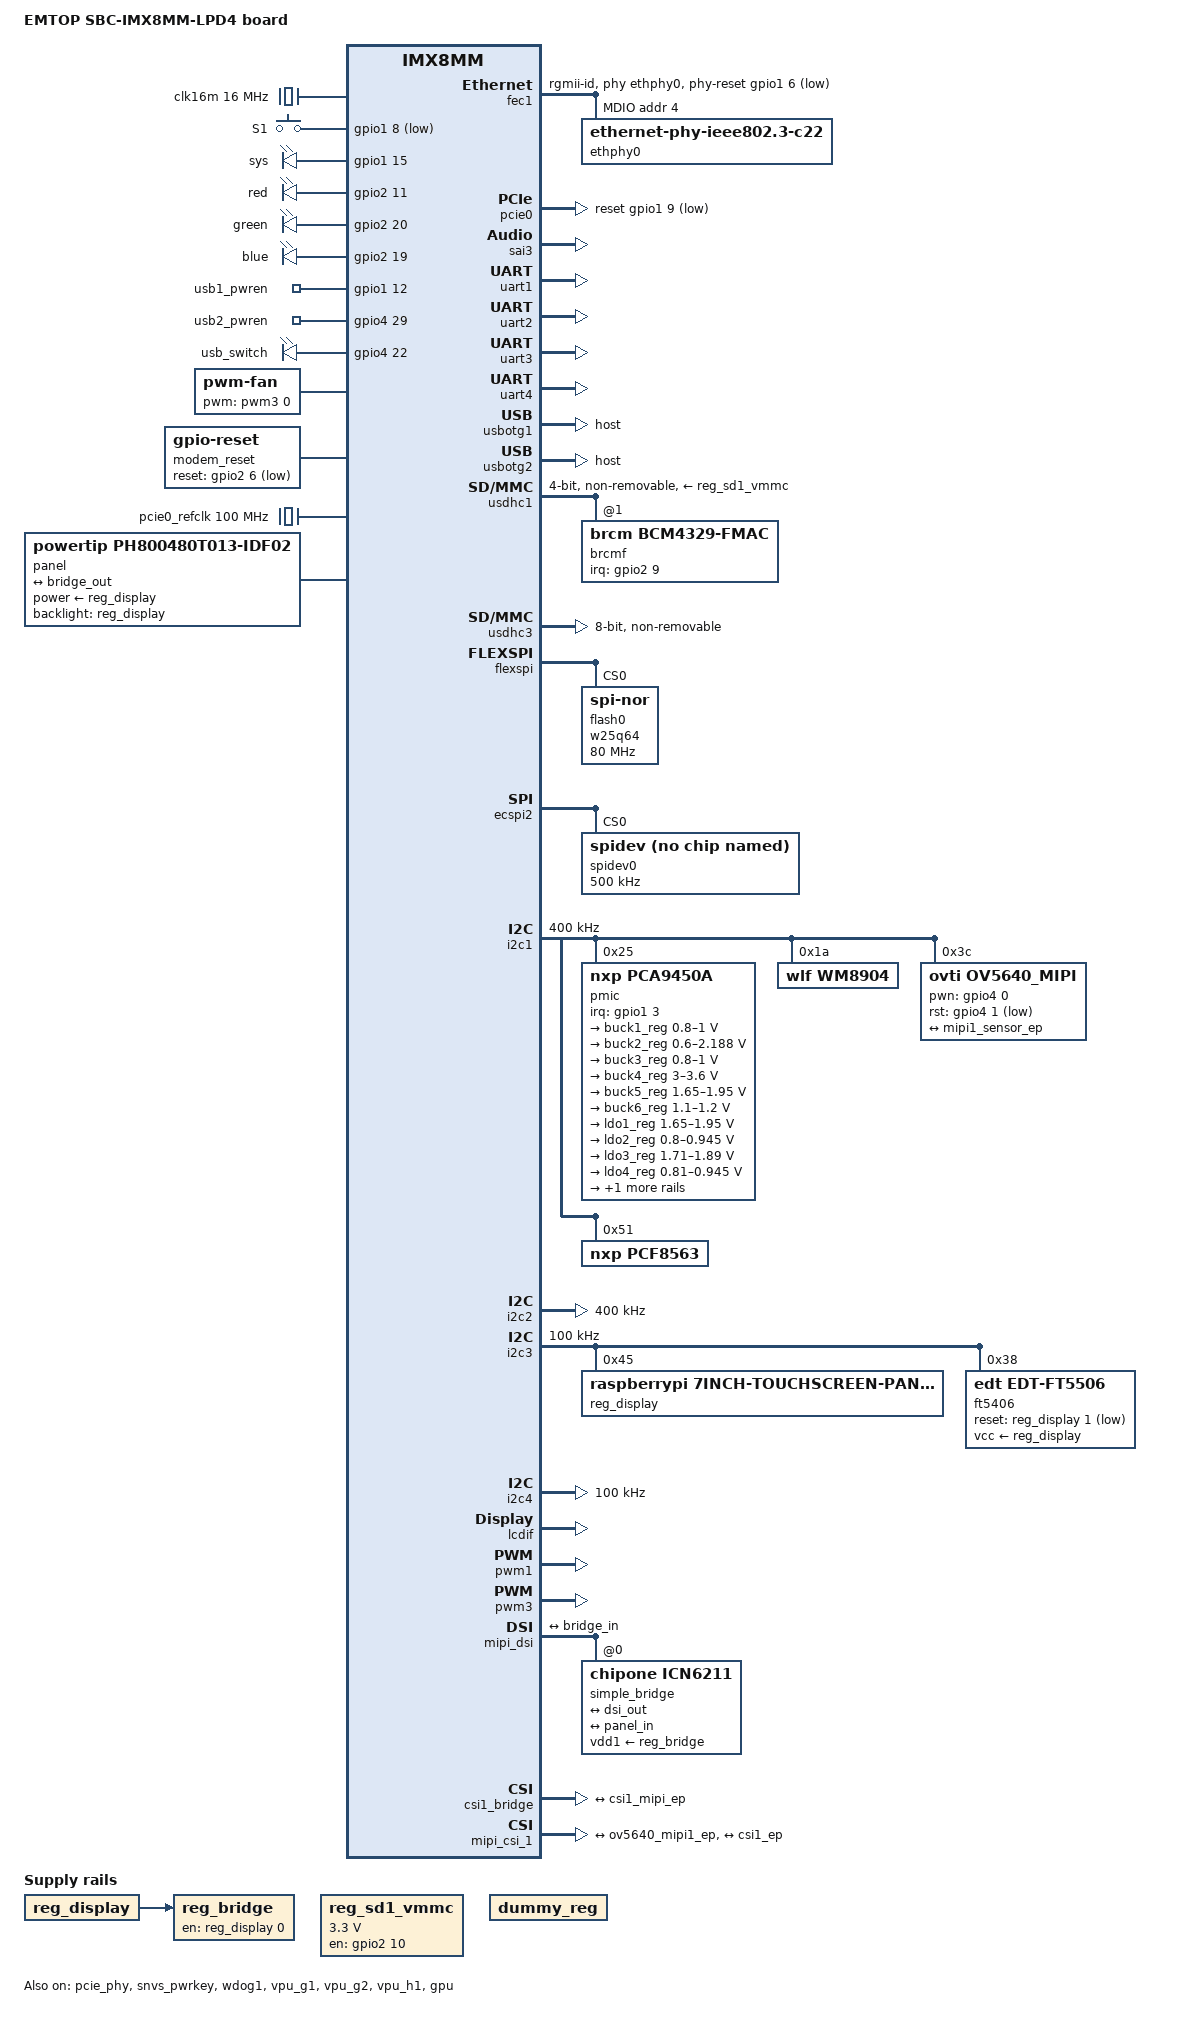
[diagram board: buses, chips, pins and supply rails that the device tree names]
// SPDX-License-Identifier: (GPL-2.0+ OR MIT)
/*
 * Copyright 2024 EMTOP
 */

/dts-v1/;

#include <dt-bindings/phy/phy-imx8-pcie.h>
#include <dt-bindings/usb/pd.h>
#include "imx8mm.dtsi"

/ {
	model = "EMTOP SBC-IMX8MM-LPD4 board";
	compatible = "fsl,imx8mm-evk", "fsl,imx8mm";

	chosen {
		stdout-path = &uart2;
	};

	clk16m: clk16m {
		compatible = "fixed-clock";
		#clock-cells = <0>;
		clock-frequency = <16000000>;
	};

	gpio-keys {
		compatible = "gpio-keys";
		pinctrl-names = "default";
		pinctrl-0 = <&pinctrl_gpio_keys>;

		btn1 {
			label = "S1";
			gpios = <&gpio1 8 GPIO_ACTIVE_LOW>;
			wakeup-source;
			linux,code = <KEY_HOME>;
		};
	};

	leds {
		compatible = "gpio-leds";
		pinctrl-names = "default";
		pinctrl-0 = <&pinctrl_gpio_led>;

		sys {
			label = "sys";
			gpios = <&gpio1 15 GPIO_ACTIVE_HIGH>;
			linux,default-trigger = "heartbeat";
		};

		red {
			label = "red";
			gpios = <&gpio2 11 GPIO_ACTIVE_HIGH>;
			linux,default-trigger = "none";
		};

		green {
			label = "green";
			gpios = <&gpio2 20 GPIO_ACTIVE_HIGH>;
			linux,default-trigger = "none";
		};

		blue {
			label = "blue";
			gpios = <&gpio2 19 GPIO_ACTIVE_HIGH>;
			linux,default-trigger = "none";
		};

		usb1_pwren {
			label = "usb1_pwren";
			gpios = <&gpio1 12 GPIO_ACTIVE_HIGH>;
			default-state = "on";
		};

		usb2_pwren {
			label = "usb2_pwren";
			gpios = <&gpio4 29 GPIO_ACTIVE_HIGH>;
			default-state = "on";
		};

		usb_switch {
			label = "usb_switch";
			gpios = <&gpio4 22 GPIO_ACTIVE_HIGH>;
			default-state = "off";
		};
	};

	fan: pwm {
		compatible = "pwm-fan";
		/* 20% steps */
		cooling-levels = <0 51 102 153 204 255>;
		pwms = <&pwm3 0 40000 0>;
	};

	modem_reset: modem-reset {
		compatible = "gpio-reset";
		reset-gpios = <&gpio2 6 GPIO_ACTIVE_LOW>;
		reset-delay-us = <2000>;
		reset-post-delay-ms = <40>;
		#reset-cells = <0>;
	};

	regulators {
		compatible = "simple-bus";
		#address-cells = <1>;
		#size-cells = <0>;

		reg_sd1_vmmc: sd1_regulator {
			compatible = "regulator-fixed";
			regulator-name = "WLAN_EN";
			regulator-min-microvolt = <3300000>;
			regulator-max-microvolt = <3300000>;
			gpio = <&gpio2 10 GPIO_ACTIVE_HIGH>;
			off-on-delay = <20000>;
			startup-delay-us = <100>;
			enable-active-high;
		};

		dummy_reg: dummy_regulator {
			compatible = "regulator-fixed";
			regulator-name = "dummy";
		};

		reg_bridge: reg_bridge {
			compatible = "regulator-fixed";
			regulator-name = "bridge_reg";
			gpio = <&reg_display 0 0>;
			vin-supply = <&reg_display>;
			enable-active-high;
		};
	};

	sound-wm8904 {
		compatible = "fsl,imx-audio-wm8904";
		model = "wm8904-audio";
		audio-cpu = <&sai3>;
		audio-codec = <&wm8904>;
		audio-routing =
			"Headphone Jack", "HPOUTL",
			"Headphone Jack", "HPOUTR",
			"IN2L", "Line In Jack",
			"IN2R", "Line In Jack",
			"Mic Jack", "MICBIAS",
			"IN1L", "Mic Jack";
	};

	pcie0_refclk: pcie0-refclk {
		compatible = "fixed-clock";
		#clock-cells = <0>;
		clock-frequency = <100000000>;
	};

	panel {
		compatible = "powertip,ph800480t013-idf02", "simple-panel";
		backlight = <&reg_display>;
		power-supply = <&reg_display>;

		port {
			panel_in: endpoint {
				remote-endpoint = <&bridge_out>;
			};
		};
	};
};

&A53_0 {
	cpu-supply = <&buck2_reg>;
};

&A53_1 {
	cpu-supply = <&buck2_reg>;
};

&A53_2 {
	cpu-supply = <&buck2_reg>;
};

&A53_3 {
	cpu-supply = <&buck2_reg>;
};

&fec1 {
	pinctrl-names = "default";
	pinctrl-0 = <&pinctrl_fec1>;
	phy-mode = "rgmii-id";
	phy-handle = <&ethphy0>;
	phy-reset-gpios = <&gpio1 6 GPIO_ACTIVE_LOW>;
	phy-reset-post-delay = <300>;
	phy-reset-duration = <80>;
	fsl,magic-packet;
	status = "okay";

	mdio {
		#address-cells = <1>;
		#size-cells = <0>;

		ethphy0: ethernet-phy@4 {
			compatible = "ethernet-phy-ieee802.3-c22";
			reg = <4>;
			at803x,eee-disabled;
			at803x,vddio-1p8v;
		};
	};
};

&pcie_phy {
	fsl,refclk-pad-mode = <IMX8_PCIE_REFCLK_PAD_INPUT>;
	fsl,tx-deemph-gen1 = <0x2d>;
	fsl,tx-deemph-gen2 = <0xf>;
	clocks = <&pcie0_refclk>;
	fsl,clkreq-unsupported;
	clock-names = "ref";
	status = "okay";
};

&pcie0 {
	pinctrl-names = "default";
	pinctrl-0 = <&pinctrl_pcie0>;
	reset-gpio = <&gpio1 9 GPIO_ACTIVE_LOW>;
	clocks = <&clk IMX8MM_CLK_PCIE1_ROOT>,
		 <&clk IMX8MM_CLK_PCIE1_AUX>,
		 <&pcie0_refclk>;
	clock-names = "pcie", "pcie_aux", "pcie_bus";
	assigned-clocks = <&clk IMX8MM_CLK_PCIE1_AUX>,
		<&clk IMX8MM_CLK_PCIE1_CTRL>;
	assigned-clock-rates = <10000000>, <250000000>;
	assigned-clock-parents = <&clk IMX8MM_SYS_PLL2_50M>,
		<&clk IMX8MM_SYS_PLL2_250M>;
	status = "okay";
};

&sai3 {
	pinctrl-names = "default";
	pinctrl-0 = <&pinctrl_sai3>;
	assigned-clocks = <&clk IMX8MM_CLK_SAI3>;
	assigned-clock-parents = <&clk IMX8MM_AUDIO_PLL1_OUT>;
	assigned-clock-rates = <24576000>;
	status = "okay";
};

&snvs_pwrkey {
	status = "okay";
};

&uart1 { /* BT */
	pinctrl-names = "default";
	pinctrl-0 = <&pinctrl_uart1>;
	assigned-clocks = <&clk IMX8MM_CLK_UART1>;
	assigned-clock-parents = <&clk IMX8MM_SYS_PLL1_80M>;
	fsl,uart-has-rtscts;
	resets = <&modem_reset>;
	status = "okay";
};

&uart2 { /* console */
	pinctrl-names = "default";
	pinctrl-0 = <&pinctrl_uart2>;
	status = "okay";
};

&uart3 {
	pinctrl-names = "default";
	pinctrl-0 = <&pinctrl_uart3>;
	assigned-clocks = <&clk IMX8MM_CLK_UART3>;
	assigned-clock-parents = <&clk IMX8MM_SYS_PLL1_80M>;
	fsl,uart-has-rtscts;
	status = "okay";
};

&uart4 {
	pinctrl-names = "default";
	pinctrl-0 = <&pinctrl_uart4>;
	status = "okay";
};

&usbotg1 {
	dr_mode = "host";
	status = "okay";
};

&usbotg2 {
	dr_mode = "host";
	status = "okay";
};

/* WIFI SDIO */
&usdhc1 {
	pinctrl-names = "default";
	pinctrl-0 = <&pinctrl_usdhc1>, <&pinctrl_usdhc1_gpio>;
	bus-width = <4>;
	vmmc-supply = <&reg_sd1_vmmc>;
	pm-ignore-notify;
	keep-power-in-suspend;
	non-removable;
	status = "okay";

	#address-cells = <1>;
	#size-cells = <0>;
	brcmf: bcrmf@1 {
		reg = <1>;
		compatible = "brcm,bcm4329-fmac";
		interrupt-parent = <&gpio2>;
		interrupts = <9 IRQ_TYPE_LEVEL_LOW>;
		interrupt-names = "host-wake";
	};
};

/* eMMC */
&usdhc3 {
	pinctrl-names = "default", "state_100mhz", "state_200mhz";
	pinctrl-0 = <&pinctrl_usdhc3>;
	pinctrl-1 = <&pinctrl_usdhc3_100mhz>;
	pinctrl-2 = <&pinctrl_usdhc3_200mhz>;
	bus-width = <8>;
	non-removable;
	status = "okay";
};

&wdog1 {
	pinctrl-names = "default";
	pinctrl-0 = <&pinctrl_wdog>;
	fsl,ext-reset-output;
	status = "okay";
};

&flexspi {
	pinctrl-names = "default";
	pinctrl-0 = <&pinctrl_flexspi0>;
	status = "okay";

	flash0: w25q64@0 {
		reg = <0>;
		#address-cells = <1>;
		#size-cells = <1>;
		compatible = "jedec,spi-nor";
		spi-max-frequency = <80000000>;
		spi-tx-bus-width = <4>;
		spi-rx-bus-width = <4>;
	};
};

&ecspi2 {
	pinctrl-names = "default";
	pinctrl-0 = <&pinctrl_ecspi2>;
	status = "okay";

	canbus: mcp2515@0 {
		compatible = "microchip,mcp2515";
		pinctrl-names = "default";
		pinctrl-0 = <&pinctrl_canbus>;
		reg = <0>;
		clocks = <&clk16m>;
		interrupt-parent = <&gpio1>;
		interrupts = <14 IRQ_TYPE_EDGE_FALLING>;
		spi-max-frequency = <10000000>;
		status = "disabled";
	};

	spidev0: spi@0 {
		compatible = "rohm,dh2228fv";
		reg = <0>;
		spi-max-frequency = <500000>;
	};
};

&i2c1 {
	clock-frequency = <400000>;
	pinctrl-names = "default";
	pinctrl-0 = <&pinctrl_i2c1>;
	status = "okay";

	pmic: pca9450@25 {
		reg = <0x25>;
		compatible = "nxp,pca9450a";
		/* PMIC PCA9450 PMIC_nINT GPIO1_IO3 */
		pinctrl-0 = <&pinctrl_pmic>;
		interrupt-parent = <&gpio1>;
		interrupts = <3 IRQ_TYPE_LEVEL_LOW>;
		nxp,wdog_b-cold-reset;

		regulators {
			#address-cells = <1>;
			#size-cells = <0>;

			buck1_reg: BUCK1 {
				regulator-name = "buck1";
				regulator-min-microvolt = <800000>;
				regulator-max-microvolt = <1000000>;
				regulator-boot-on;
				regulator-always-on;
				regulator-ramp-delay = <3125>;
				nxp,dvs-run-voltage = <950000>;
				nxp,dvs-standby-voltage = <850000>;
			};

			buck2_reg: BUCK2 {
				regulator-name = "buck2";
				regulator-min-microvolt = <600000>;
				regulator-max-microvolt = <2187500>;
				regulator-boot-on;
				regulator-always-on;
				regulator-ramp-delay = <3125>;
			};

			buck3_reg: BUCK3 {
				regulator-name = "buck3";
				regulator-min-microvolt = <800000>;
				regulator-max-microvolt = <1000000>;
				regulator-boot-on;
				regulator-always-on;
			};

			buck4_reg: BUCK4 {
				regulator-name = "buck4";
				regulator-min-microvolt = <3000000>;
				regulator-max-microvolt = <3600000>;
				regulator-boot-on;
				regulator-always-on;
			};

			buck5_reg: BUCK5 {
				regulator-name = "buck5";
				regulator-min-microvolt = <1650000>;
				regulator-max-microvolt = <1950000>;
				regulator-boot-on;
				regulator-always-on;
			};

			buck6_reg: BUCK6 {
				regulator-name = "buck6";
				regulator-min-microvolt = <1100000>;
				regulator-max-microvolt = <1200000>;
				regulator-boot-on;
				regulator-always-on;
			};

			ldo1_reg: LDO1 {
				regulator-name = "ldo1";
				regulator-min-microvolt = <1650000>;
				regulator-max-microvolt = <1950000>;
				regulator-boot-on;
				regulator-always-on;
			};

			ldo2_reg: LDO2 {
				regulator-name = "ldo2";
				regulator-min-microvolt = <800000>;
				regulator-max-microvolt = <945000>;
				regulator-boot-on;
				regulator-always-on;
			};

			ldo3_reg: LDO3 {
				regulator-name = "ldo3";
				regulator-min-microvolt = <1710000>;
				regulator-max-microvolt = <1890000>;
				regulator-boot-on;
				regulator-always-on;
			};

			ldo4_reg: LDO4 {
				regulator-name = "ldo4";
				regulator-min-microvolt = <810000>;
				regulator-max-microvolt = <945000>;
				regulator-boot-on;
				regulator-always-on;
			};

			ldo5_reg: LDO5 {
				regulator-name = "ldo5";
				regulator-min-microvolt = <1650000>;
				regulator-max-microvolt = <3600000>;
			};
		};
	};

	wm8904: wm8904@1a {
		compatible = "wlf,wm8904";
		reg = <0x1a>;
		clocks = <&clk IMX8MM_CLK_SAI3_ROOT>;
		clock-names = "mclk";
		num-drc-cfgs = <5>;
		drc-cfg-names = "default", "peaklimiter", "tradition", "soft", "music";
		drc-cfg-regs =
			/* coded default: KNEE_IP = KNEE_OP = 0, HI_COMP = LO_COMP = 1  */
			<0x01af 0x3248 0x0000 0x0000>,
			/* coded default: KNEE_IP = -24, KNEE_OP = -6, HI_COMP = 1/4, LO_COMP = 1 */
			<0x04af 0x324b 0x0010 0x0408>,
			/* coded default: KNEE_IP = -42, KNEE_OP = -3, HI_COMP = 0, LO_COMP = 1 */
			<0x04af 0x324b 0x0028 0x0704>,
			/* coded default: KNEE_IP = -45, KNEE_OP = -9, HI_COMP = 1/8, LO_COMP = 1 */
			<0x04af 0x324b 0x0018 0x078c>,
			/* coded default: KNEE_IP = -30, KNEE_OP = -10.5, HI_COMP = 1/4, LO_COMP = 1 */
			<0x04af 0x324b 0x0010 0x050e>;
		gpio-cfg = <
			0x0018 /* GPIO1 => DMIC_CLK */
			0xffff /* GPIO2 => don't touch */
			0xffff /* GPIO3 => don't touch */
			0xffff /* GPIO4 => don't touch */
		>;
	};

	ov5640_mipi: ov5640_mipi@3c {
		compatible = "ovti,ov5640_mipi";
		reg = <0x3c>;
		status = "okay";
		pinctrl-names = "default";
		pinctrl-0 = <&pinctrl_csi_ctrl>;
		clocks = <&clk IMX8MM_CLK_CLKO1>;
		clock-names = "csi_mclk";
		assigned-clocks = <&clk IMX8MM_CLK_CLKO1>;
		assigned-clock-parents = <&clk IMX8MM_CLK_24M>;
		assigned-clock-rates = <24000000>;
		csi_id = <0>;
		pwn-gpios = <&gpio4 0 GPIO_ACTIVE_HIGH>;
		rst-gpios = <&gpio4 1 GPIO_ACTIVE_LOW>;
		mclk = <24000000>;
		mclk_source = <0>;
		port {
			ov5640_mipi1_ep: endpoint {
				remote-endpoint = <&mipi1_sensor_ep>;
			};
		};
	};

	pcf8563: rtc@51 {
		compatible = "nxp,pcf8563";
		reg = <0x51>;
		status = "okay";
	};
};

&i2c2 {
	clock-frequency = <400000>;
	pinctrl-names = "default";
	pinctrl-0 = <&pinctrl_i2c2>;
	status = "okay";
};

&snvs_rtc {
	status = "disabled";
};

&i2c3 {
	clock-frequency = <100000>;
	pinctrl-names = "default";
	pinctrl-0 = <&pinctrl_i2c3>;
	status = "okay";

	reg_display: reg_display@45 {
		compatible = "raspberrypi,7inch-touchscreen-panel-regulator";
		reg = <0x45>;
		gpio-controller;
		#gpio-cells = <2>;
	};

	ft5406: ts@38 {
		compatible = "edt,edt-ft5506";
		reg = <0x38>;
		vcc-supply = <&reg_display>;
		reset-gpio = <&reg_display 1 1>;

		touchscreen-size-x = <800>;
		touchscreen-size-y = <480>;
		touchscreen-inverted-x;
		touchscreen-inverted-y;
	};
};

&i2c4 {
	clock-frequency = <100000>;
	pinctrl-names = "default";
	pinctrl-0 = <&pinctrl_i2c4>;
	status = "okay";
};

&lcdif {
	status = "okay";
};

&pwm1 {
	pinctrl-names = "default";
	pinctrl-0 = <&pinctrl_pwm1>;
	status = "okay";
};

&pwm3 {
	pinctrl-names = "default";
	pinctrl-0 = <&pinctrl_pwm3>;
	status = "okay";
};

&mipi_dsi {
	#address-cells = <1>;
	#size-cells = <0>;
	status = "okay";

	encoder_dsi_port: port@1 {
		reg = <1>;
		dsi_out: endpoint {
			remote-endpoint = <&bridge_in>;
			attach-bridge;
		};
	};

	simple_bridge: bridge@0 {
		compatible = "chipone,icn6211";
		pinctrl-names = "default";
		pinctrl-0 = <&pinctrl_dsi>;
		reg = <0>;
		vdd1-supply = <&reg_bridge>;

		#address-cells = <1>;
		#size-cells = <0>;
		port@0 {
			reg = <0>;
			bridge_in: endpoint {
				remote-endpoint = <&dsi_out>;
				data-lanes = <1>;
			};
		};

		port@1 {
			reg = <1>;
			bridge_out: endpoint {
				remote-endpoint = <&panel_in>;
			};
		};
	};
};

&csi1_bridge {
	fsl,mipi-mode;
	status = "okay";

	port {
		csi1_ep: endpoint {
			remote-endpoint = <&csi1_mipi_ep>;
		};
	};
};

&mipi_csi_1 {
	#address-cells = <1>;
	#size-cells = <0>;
	status = "okay";

	port {
		mipi1_sensor_ep: endpoint@1 {
			remote-endpoint = <&ov5640_mipi1_ep>;
			data-lanes = <2>;
			csis-hs-settle = <13>;
			csis-clk-settle = <2>;
			csis-wclk;
		};

		csi1_mipi_ep: endpoint@2 {
			remote-endpoint = <&csi1_ep>;
		};
	};
};

&vpu_g1 {
	status = "okay";
};

&vpu_g2 {
	status = "okay";
};

&vpu_h1 {
	status = "okay";
};

&gpu {
	status = "okay";
};

&iomuxc {
	pinctrl-names = "default";
	pinctrl-0 = <&pinctrl_default>;

	pinctrl_default: default {
		fsl,pins = <
			MX8MM_IOMUXC_SD2_CLK_GPIO2_IO13				0x19
			MX8MM_IOMUXC_SD2_CMD_GPIO2_IO14				0x19
			MX8MM_IOMUXC_SD2_DATA0_GPIO2_IO15			0x19
			MX8MM_IOMUXC_SPDIF_TX_GPIO5_IO3				0x19
			MX8MM_IOMUXC_SD2_CD_B_GPIO2_IO12			0x19
			MX8MM_IOMUXC_SAI5_RXC_GPIO3_IO20			0x19
			MX8MM_IOMUXC_SPDIF_RX_GPIO5_IO4				0x19
			MX8MM_IOMUXC_SAI5_RXFS_GPIO3_IO19			0x19
			MX8MM_IOMUXC_SAI5_RXD2_GPIO3_IO23			0x19
			MX8MM_IOMUXC_SAI5_MCLK_GPIO3_IO25			0x19
			MX8MM_IOMUXC_SD2_DATA1_GPIO2_IO16			0x19
			MX8MM_IOMUXC_SD2_DATA2_GPIO2_IO17			0x19
			MX8MM_IOMUXC_SD2_DATA3_GPIO2_IO18			0x19
			MX8MM_IOMUXC_GPIO1_IO05_GPIO1_IO5			0x19
			MX8MM_IOMUXC_SAI5_RXD1_GPIO3_IO22			0x19
			MX8MM_IOMUXC_SAI5_RXD0_GPIO3_IO21			0x19
			MX8MM_IOMUXC_SAI5_RXD3_GPIO3_IO24			0x19

			MX8MM_IOMUXC_SAI1_MCLK_GPIO4_IO20			0x19	/* SEC_RST */
		>;
	};

	pinctrl_fec1: fec1grp {
		fsl,pins = <
			MX8MM_IOMUXC_ENET_MDC_ENET1_MDC				0x3
			MX8MM_IOMUXC_ENET_MDIO_ENET1_MDIO			0x3
			MX8MM_IOMUXC_ENET_TD3_ENET1_RGMII_TD3		0x1f
			MX8MM_IOMUXC_ENET_TD2_ENET1_RGMII_TD2		0x1f
			MX8MM_IOMUXC_ENET_TD1_ENET1_RGMII_TD1		0x1f
			MX8MM_IOMUXC_ENET_TD0_ENET1_RGMII_TD0		0x1f
			MX8MM_IOMUXC_ENET_RD3_ENET1_RGMII_RD3		0x91
			MX8MM_IOMUXC_ENET_RD2_ENET1_RGMII_RD2		0x91
			MX8MM_IOMUXC_ENET_RD1_ENET1_RGMII_RD1		0x91
			MX8MM_IOMUXC_ENET_RD0_ENET1_RGMII_RD0		0x91
			MX8MM_IOMUXC_ENET_TXC_ENET1_RGMII_TXC		0x1f
			MX8MM_IOMUXC_ENET_RXC_ENET1_RGMII_RXC		0x91
			MX8MM_IOMUXC_ENET_RX_CTL_ENET1_RGMII_RX_CTL	0x91
			MX8MM_IOMUXC_ENET_TX_CTL_ENET1_RGMII_TX_CTL	0x1f
			MX8MM_IOMUXC_GPIO1_IO06_GPIO1_IO6			0x19
		>;
	};

	pinctrl_flexspi0: flexspi0grp {
		fsl,pins = <
			MX8MM_IOMUXC_NAND_ALE_QSPI_A_SCLK			0x1c2
			MX8MM_IOMUXC_NAND_CE0_B_QSPI_A_SS0_B		0x82
			MX8MM_IOMUXC_NAND_DATA00_QSPI_A_DATA0		0x82
			MX8MM_IOMUXC_NAND_DATA01_QSPI_A_DATA1		0x82
			MX8MM_IOMUXC_NAND_DATA02_QSPI_A_DATA2		0x82
			MX8MM_IOMUXC_NAND_DATA03_QSPI_A_DATA3		0x82
		>;
	};

	pinctrl_ecspi2: ecspi2grp {
		fsl,pins = <
			MX8MM_IOMUXC_ECSPI2_SS0_ECSPI2_SS0			0x82
			MX8MM_IOMUXC_ECSPI2_MOSI_ECSPI2_MOSI		0x82
			MX8MM_IOMUXC_ECSPI2_MISO_ECSPI2_MISO		0x82
			MX8MM_IOMUXC_ECSPI2_SCLK_ECSPI2_SCLK		0x82
		>;
	};

	pinctrl_canbus: canbusgrp {
		fsl,pins = <
			MX8MM_IOMUXC_GPIO1_IO14_GPIO1_IO14			0x14
		>;
	};

	pinctrl_gpio_keys: gpiokeysgrp {
		fsl,pins = <
			MX8MM_IOMUXC_GPIO1_IO08_GPIO1_IO8			0x1d9
		>;
	};

	pinctrl_gpio_led: gpioledgrp {
		fsl,pins = <
			MX8MM_IOMUXC_GPIO1_IO15_GPIO1_IO15			0x19	/* SYS STATUS */
			MX8MM_IOMUXC_SD1_STROBE_GPIO2_IO11			0x19	/* RED */
			MX8MM_IOMUXC_SD2_WP_GPIO2_IO20				0x19	/* GREEN */
			MX8MM_IOMUXC_SD2_RESET_B_GPIO2_IO19			0x19	/* BLUE */
			MX8MM_IOMUXC_GPIO1_IO12_GPIO1_IO12			0x19	/* USB1_PWREN */
			MX8MM_IOMUXC_SAI3_RXC_GPIO4_IO29			0x19	/* USB2_PWREN */
			MX8MM_IOMUXC_SAI2_RXC_GPIO4_IO22			0x19	/* USB_SWITCH */
		>;
	};

	pinctrl_i2c1: i2c1grp {
		fsl,pins = <
			MX8MM_IOMUXC_I2C1_SCL_I2C1_SCL				0x400001c3
			MX8MM_IOMUXC_I2C1_SDA_I2C1_SDA				0x400001c3
		>;
	};

	pinctrl_i2c2: i2c2grp {
		fsl,pins = <
			MX8MM_IOMUXC_I2C2_SCL_I2C2_SCL				0x400001c3
			MX8MM_IOMUXC_I2C2_SDA_I2C2_SDA				0x400001c3
		>;
	};

	pinctrl_i2c3: i2c3grp {
		fsl,pins = <
			MX8MM_IOMUXC_I2C3_SCL_I2C3_SCL				0x400001c3
			MX8MM_IOMUXC_I2C3_SDA_I2C3_SDA				0x400001c3
		>;
	};

	pinctrl_i2c4: i2c4grp {
		fsl,pins = <
			MX8MM_IOMUXC_I2C4_SCL_I2C4_SCL				0x400001c3
			MX8MM_IOMUXC_I2C4_SDA_I2C4_SDA				0x400001c3
		>;
	};

	pinctrl_pwm1: pwm1grp {
		fsl,pins = <
			MX8MM_IOMUXC_SPDIF_EXT_CLK_PWM1_OUT			0x19	/* gpio5_io05.pwm1 */
		>;
	};

	pinctrl_pwm3: pwm3grp {
		fsl,pins = <
			MX8MM_IOMUXC_GPIO1_IO14_PWM3_OUT			0x19	/* fan pwm */
		>;
	};

	pinctrl_pcie0: pcie0grp {
		fsl,pins = <
			MX8MM_IOMUXC_GPIO1_IO07_GPIO1_IO7			0x61 /* open drain, pull up */
			MX8MM_IOMUXC_GPIO1_IO09_GPIO1_IO9			0x19
		>;
	};

	pinctrl_pmic: pmicirq {
		fsl,pins = <
			MX8MM_IOMUXC_GPIO1_IO03_GPIO1_IO3			0x41
		>;
	};

	pinctrl_sai3: sai3grp {
		fsl,pins = <
			MX8MM_IOMUXC_SAI3_TXFS_SAI3_TX_SYNC			0xd6
			MX8MM_IOMUXC_SAI3_TXC_SAI3_TX_BCLK			0xd6
			MX8MM_IOMUXC_SAI3_MCLK_SAI3_MCLK			0xd6
			MX8MM_IOMUXC_SAI3_TXD_SAI3_TX_DATA0			0xd6
			MX8MM_IOMUXC_SAI3_RXD_SAI3_RX_DATA0			0xd6
		>;
	};

	pinctrl_uart1: uart1grp {
		fsl,pins = <
			MX8MM_IOMUXC_UART1_RXD_UART1_DCE_RX			0x140
			MX8MM_IOMUXC_UART1_TXD_UART1_DCE_TX			0x140
			MX8MM_IOMUXC_UART3_RXD_UART1_DCE_CTS_B		0x140
			MX8MM_IOMUXC_UART3_TXD_UART1_DCE_RTS_B		0x140
			MX8MM_IOMUXC_SD1_DATA4_GPIO2_IO6			0x19
		>;
	};

	pinctrl_uart2: uart2grp {
		fsl,pins = <
			MX8MM_IOMUXC_UART2_RXD_UART2_DCE_RX			0x140
			MX8MM_IOMUXC_UART2_TXD_UART2_DCE_TX			0x140
		>;
	};

	pinctrl_uart3: uart3grp {
		fsl,pins = <
			MX8MM_IOMUXC_ECSPI1_SCLK_UART3_DCE_RX		0x140
			MX8MM_IOMUXC_ECSPI1_MOSI_UART3_DCE_TX		0x140
			MX8MM_IOMUXC_ECSPI1_MISO_UART3_DCE_CTS_B	0x140
		>;
	};

	pinctrl_uart4: uart4grp {
		fsl,pins = <
			MX8MM_IOMUXC_UART4_RXD_UART4_DCE_RX			0x140
			MX8MM_IOMUXC_UART4_TXD_UART4_DCE_TX			0x140
		>;
	};

	pinctrl_usdhc1_gpio: usdhc1grpgpio {
		fsl,pins = <
			MX8MM_IOMUXC_SD1_RESET_B_GPIO2_IO10			0x41	/* wl_reg_on */
			MX8MM_IOMUXC_SD1_DATA7_GPIO2_IO9			0x41	/* wl_host_wake */
			MX8MM_IOMUXC_GPIO1_IO00_ANAMIX_REF_CLK_32K	0x141	/* LP0: 32KHz */
		>;
	};

	pinctrl_usdhc1: usdhc1grp {
		fsl,pins = <
			MX8MM_IOMUXC_SD1_CLK_USDHC1_CLK				0x190
			MX8MM_IOMUXC_SD1_CMD_USDHC1_CMD				0x1d0
			MX8MM_IOMUXC_SD1_DATA0_USDHC1_DATA0			0x1d0
			MX8MM_IOMUXC_SD1_DATA1_USDHC1_DATA1			0x1d0
			MX8MM_IOMUXC_SD1_DATA2_USDHC1_DATA2			0x1d0
			MX8MM_IOMUXC_SD1_DATA3_USDHC1_DATA3			0x1d0
		>;
	};

	pinctrl_usdhc1_100mhz: usdhc1grp100mhz {
		fsl,pins = <
			MX8MM_IOMUXC_SD1_CLK_USDHC1_CLK		0x194
			MX8MM_IOMUXC_SD1_CMD_USDHC1_CMD		0x1d4
			MX8MM_IOMUXC_SD1_DATA0_USDHC1_DATA0	0x1d4
			MX8MM_IOMUXC_SD1_DATA1_USDHC1_DATA1	0x1d4
			MX8MM_IOMUXC_SD1_DATA2_USDHC1_DATA2	0x1d4
			MX8MM_IOMUXC_SD1_DATA3_USDHC1_DATA3	0x1d4
		>;
	};

	pinctrl_usdhc1_200mhz: usdhc1grp200mhz {
		fsl,pins = <
			MX8MM_IOMUXC_SD1_CLK_USDHC1_CLK		0x196
			MX8MM_IOMUXC_SD1_CMD_USDHC1_CMD		0x1d6
			MX8MM_IOMUXC_SD1_DATA0_USDHC1_DATA0	0x1d6
			MX8MM_IOMUXC_SD1_DATA1_USDHC1_DATA1	0x1d6
			MX8MM_IOMUXC_SD1_DATA2_USDHC1_DATA2	0x1d6
			MX8MM_IOMUXC_SD1_DATA3_USDHC1_DATA3	0x1d6
		>;
	};

	pinctrl_usdhc3: usdhc3grp {
		fsl,pins = <
			MX8MM_IOMUXC_NAND_WE_B_USDHC3_CLK		0x190
			MX8MM_IOMUXC_NAND_WP_B_USDHC3_CMD		0x1d0
			MX8MM_IOMUXC_NAND_DATA04_USDHC3_DATA0		0x1d0
			MX8MM_IOMUXC_NAND_DATA05_USDHC3_DATA1		0x1d0
			MX8MM_IOMUXC_NAND_DATA06_USDHC3_DATA2		0x1d0
			MX8MM_IOMUXC_NAND_DATA07_USDHC3_DATA3		0x1d0
			MX8MM_IOMUXC_NAND_RE_B_USDHC3_DATA4		0x1d0
			MX8MM_IOMUXC_NAND_CE2_B_USDHC3_DATA5		0x1d0
			MX8MM_IOMUXC_NAND_CE3_B_USDHC3_DATA6		0x1d0
			MX8MM_IOMUXC_NAND_CLE_USDHC3_DATA7		0x1d0
			MX8MM_IOMUXC_NAND_CE1_B_USDHC3_STROBE		0x190
		>;
	};

	pinctrl_usdhc3_100mhz: usdhc3grp100mhz {
		fsl,pins = <
			MX8MM_IOMUXC_NAND_WE_B_USDHC3_CLK		0x194
			MX8MM_IOMUXC_NAND_WP_B_USDHC3_CMD		0x1d4
			MX8MM_IOMUXC_NAND_DATA04_USDHC3_DATA0		0x1d4
			MX8MM_IOMUXC_NAND_DATA05_USDHC3_DATA1		0x1d4
			MX8MM_IOMUXC_NAND_DATA06_USDHC3_DATA2		0x1d4
			MX8MM_IOMUXC_NAND_DATA07_USDHC3_DATA3		0x1d4
			MX8MM_IOMUXC_NAND_RE_B_USDHC3_DATA4		0x1d4
			MX8MM_IOMUXC_NAND_CE2_B_USDHC3_DATA5		0x1d4
			MX8MM_IOMUXC_NAND_CE3_B_USDHC3_DATA6		0x1d4
			MX8MM_IOMUXC_NAND_CLE_USDHC3_DATA7		0x1d4
			MX8MM_IOMUXC_NAND_CE1_B_USDHC3_STROBE		0x194
		>;
	};

	pinctrl_usdhc3_200mhz: usdhc3grp200mhz {
		fsl,pins = <
			MX8MM_IOMUXC_NAND_WE_B_USDHC3_CLK		0x196
			MX8MM_IOMUXC_NAND_WP_B_USDHC3_CMD		0x1d6
			MX8MM_IOMUXC_NAND_DATA04_USDHC3_DATA0		0x1d6
			MX8MM_IOMUXC_NAND_DATA05_USDHC3_DATA1		0x1d6
			MX8MM_IOMUXC_NAND_DATA06_USDHC3_DATA2		0x1d6
			MX8MM_IOMUXC_NAND_DATA07_USDHC3_DATA3		0x1d6
			MX8MM_IOMUXC_NAND_RE_B_USDHC3_DATA4		0x1d6
			MX8MM_IOMUXC_NAND_CE2_B_USDHC3_DATA5		0x1d6
			MX8MM_IOMUXC_NAND_CE3_B_USDHC3_DATA6		0x1d6
			MX8MM_IOMUXC_NAND_CLE_USDHC3_DATA7		0x1d6
			MX8MM_IOMUXC_NAND_CE1_B_USDHC3_STROBE		0x196
		>;
	};

	pinctrl_wdog: wdoggrp {
		fsl,pins = <
			MX8MM_IOMUXC_GPIO1_IO02_WDOG1_WDOG_B			0xc6
		>;
	};

	pinctrl_dsi: dsigrp {
		fsl,pins = <
			MX8MM_IOMUXC_SAI1_TXC_GPIO4_IO11			0x19
		>;
	};

	pinctrl_csi_ctrl: csictrlgrp {
		fsl,pins = <
			MX8MM_IOMUXC_SAI1_RXFS_GPIO4_IO0			0x19
			MX8MM_IOMUXC_SAI1_RXC_GPIO4_IO1				0x19
		>;
	};
};
